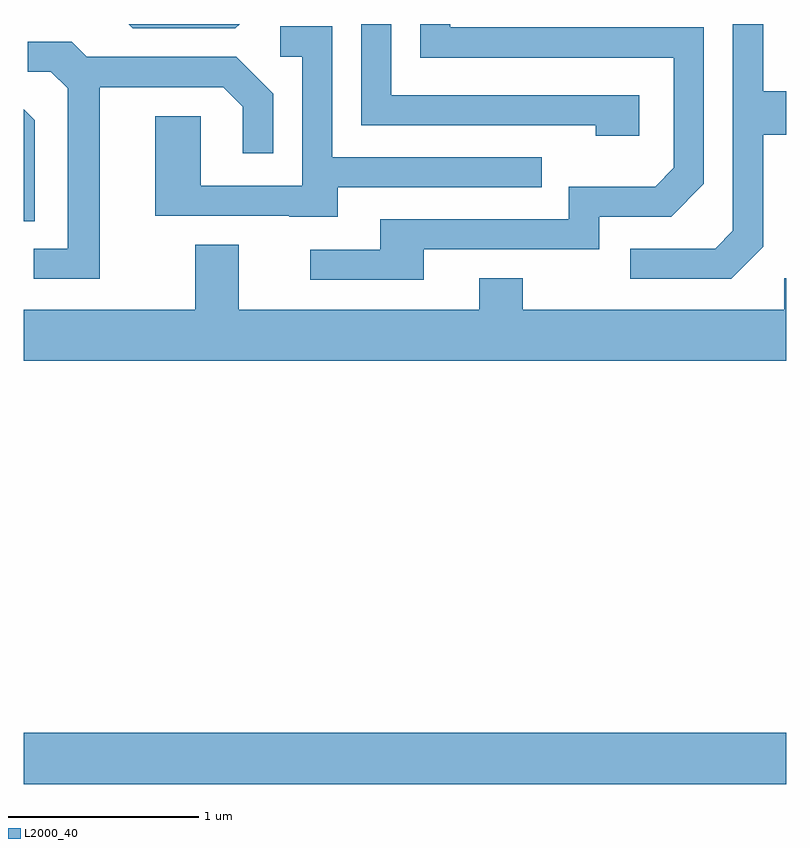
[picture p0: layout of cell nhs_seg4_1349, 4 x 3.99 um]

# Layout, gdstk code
import gdstk
lib = gdstk.Library(unit=1e-6, precision=1e-09)
def R(c, l, rs):  # rectangles x0, y0, x1, y1
    for r in rs: c.add(gdstk.rectangle(r[:2], r[2:], *l))
def P(c, l, *ps):  # polygons
    for p in ps: c.add(gdstk.Polygon(p, *l))
L2000_40 = (2000, 40)

nhs_seg4_1349 = lib.new_cell('nhs_seg4_1349')
R(nhs_seg4_1349, L2000_40, [(223.611,1367.996,227.611,1368.264)])
P(nhs_seg4_1349, L2000_40, [(227.489,1370.814),(227.489,1371.401),(227.611,1371.401),(227.611,1371.629),(227.489,1371.629),(227.489,1371.982),(227.331,1371.982),(227.331,1370.897),(227.239,1370.804),(226.793,1370.804),(226.793,1370.646),(227.322,1370.646)],
  [(225.709,1370.801),(226.629,1370.801),(226.629,1370.971),(227.007,1370.971),(227.179,1371.144),(227.179,1371.964),(225.849,1371.964),(225.849,1371.982),(225.691,1371.982),(225.691,1371.806),(227.021,1371.806),(227.021,1371.227),(226.924,1371.129),(226.471,1371.129),(226.471,1370.959),(225.481,1370.959),(225.481,1370.799),(225.113,1370.799),(225.113,1370.641),(225.709,1370.641)],
  [(224.743,1371.982),(224.163,1371.982),(224.184,1371.961),(224.722,1371.961)],
  [(226.839,1371.609),(225.539,1371.609),(225.539,1371.982),(225.381,1371.982),(225.381,1371.451),(226.611,1371.451),(226.611,1371.396),(226.839,1371.396)],
  [(225.259,1371.126),(226.328,1371.126),(226.328,1371.284),(225.229,1371.284),(225.229,1371.969),(224.958,1371.969),(224.958,1371.811),(225.071,1371.811),(225.071,1371.134),(224.539,1371.134),(224.539,1371.499),(224.301,1371.499),(224.301,1370.976),(225.005,1370.976),(225.005,1370.971),(225.259,1370.971)],
  [(224.009,1371.651),(224.659,1371.651),(224.761,1371.549),(224.761,1371.303),(224.919,1371.303),(224.919,1371.617),(224.727,1371.809),(223.942,1371.809),(223.862,1371.889),(223.633,1371.889),(223.633,1371.731),(223.754,1371.731),(223.841,1371.644),(223.841,1370.804),(223.663,1370.804),(223.663,1370.646),(224.009,1370.646)],
  [(223.669,1371.477),(223.611,1371.535),(223.611,1370.948),(223.669,1370.948)],
  [(227.611,1370.649),(227.601,1370.649),(227.601,1370.484),(226.229,1370.484),(226.229,1370.649),(226.001,1370.649),(226.001,1370.484),(224.739,1370.484),(224.739,1370.824),(224.511,1370.824),(224.511,1370.484),(223.611,1370.484),(223.611,1370.216),(227.611,1370.216)])

lib.write_gds('nhs_seg4_1349.gds')
